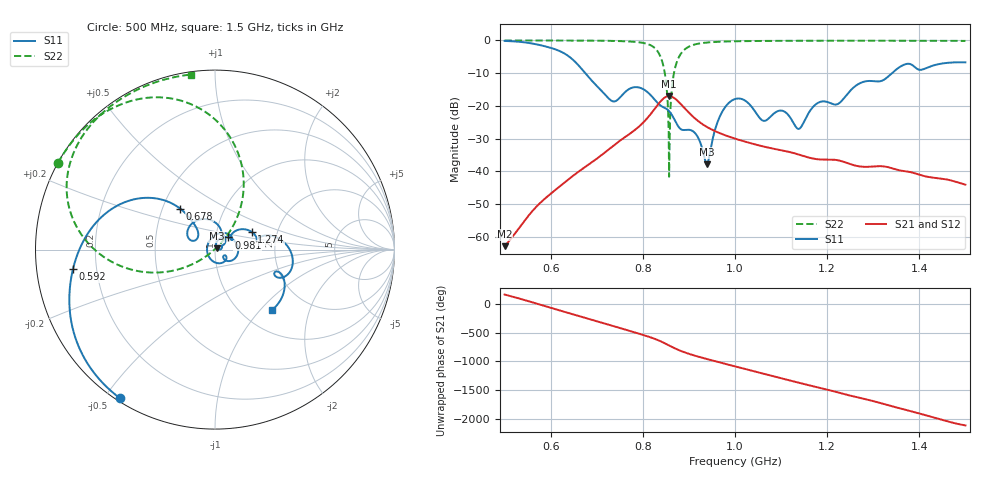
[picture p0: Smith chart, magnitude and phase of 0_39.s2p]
! TOUCHSTONE file generated by CST MICROWAVE STUDIO
! Date and time: Mon Sep 28 14:17:49 2020
! Project name: Scenario_1_Free_SPace.cst
! Parameters = {dx1=831.4; L_HA=400; MT=2.54; Rad_Dielectric=30; Rad_Lower=7.3; Rad_Upper=30; a_HA=580; a_WG=246; b_HA=500; b_WG=121; c_HA=0; c_WG=187; d_feed=85; h_feed=15; h_lower=18; h_upper=40}
! Header version: 2018
! Port assignment regex: !\s*Touchstone port\s*([0-9]+)\s*=\s*(CST MWS port|CST DS port)\s*([0-9]+|Zmin|Zmax)\s*\(\"(.*)\"\)(\s*mode\s*([0-9]+))?.*
! Touchstone port assignment:
! Touchstone port 1 = CST MWS port 1 ("")
! Touchstone port 2 = CST MWS port 2 ("")
# GHz S DB R 50
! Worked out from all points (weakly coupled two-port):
!   1003 points, 500 MHz to 1.5 GHz, reference 50 ohm
!   highest |S21| = -17.01 dB at 857 MHz (marker M1); lowest = -62.9 dB at 500 MHz (marker M2)
!   lowest |S11| = -37.9 dB at 939 MHz (marker M3), VSWR 1.03, Z = 51 + j0.807 ohm
!   |S11| at or under -10 dB: 675.1 MHz to 1.341 GHz (665.5 MHz wide, 66 % of centre)
!   |S22| runs from -41.6 to 0.0 dB; largest |S21 - S12| = 9.2e-06
!   S11 on the Smith chart (normalised r, x): 500 MHz: 0.01, -0.55; 592 MHz: 0.11, -0.07; 678 MHz: 0.62, +0.31; 981 MHz: 1.15, +0.16; 1.274 GHz: 1.47, +0.31; 1.5 GHz: 1.35, -1.16
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0.5  -0.15 -122.6  -62.87 163.4  -62.87 163.4  -0.01 151.1
0.592  -1.95 -172.2  -47.79 -48.9  -47.79 -48.8  -0.02 144.7
0.667  -8.66 134.1  -39.44 135.9  -39.44 135.9  -0.04 138.3
0.678  -10.49 130.3  -38.35 110.4  -38.35 110.4  -0.05 137.2
0.735  -18.61 145.2  -32.26 -21.3  -32.26 -21.3  -0.14 129.9
0.781  -14.30 136.0  -27.56 -132.7  -27.56 -132.7  -0.42 119.9
0.834  -19.37 70.3  -19.39 86.3  -19.39 86.3  -3.75 83.7
0.847  -20.59 59.8  -17.50 37.7  -17.50 37.7  -9.48 62.4
0.857  -21.61 46.1  -17.01 -3.2  -17.01 -3.2  -41.63 56.4
0.867  -23.75 32.7  -17.51 -43.2  -17.51 -43.2  -10.38 -155.7
0.879  -26.68 29.6  -18.95 -86.2  -18.95 -86.2  -4.88 -172.6
0.914  -28.43 10.3  -23.93 177.2  -23.93 177.2  -1.18 160.6
0.939  -37.86 38.2  -26.43 121.6  -26.43 121.6  -0.64 151.6
0.981  -19.94 42.1  -29.10 32.9  -29.10 32.9  -0.32 142.9
1  -17.90 9.8  -30.00 -6.7  -30.00 -6.7  -0.26 140.1
1.062  -24.56 -37.5  -32.42 -134.3  -32.42 -134.3  -0.15 133.1
1.106  -21.65 -65.2  -33.70 135.9  -33.70 135.9  -0.12 129.1
1.137  -27.03 -173.7  -34.81 71.6  -34.81 71.6  -0.10 126.5
1.167  -20.71 76.4  -36.02 13.0  -36.02 13.0  -0.09 124.1
1.274  -12.89 25.8  -38.56 159.9  -38.56 159.9  -0.08 116.0
1.334  -10.84 15.8  -38.79 34.1  -38.79 34.1  -0.09 111.4
1.5  -6.70 -46.8  -44.07 45.6  -44.07 45.6  -0.14 97.8
